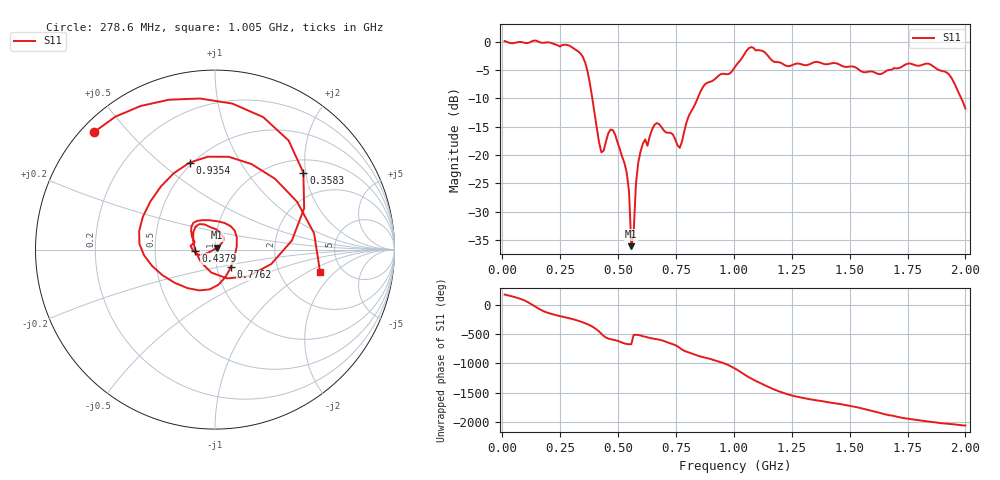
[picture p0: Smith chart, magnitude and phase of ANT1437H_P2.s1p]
!Created with skrf (http://scikit-rf.org).
# Hz S RI R 50.0
!freq ReS11 ImS11
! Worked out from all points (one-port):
!   201 points, 10 MHz to 2 GHz, reference 50 ohm
!   lowest |S11| = -36.1 dB at 557.2 MHz (marker M1), VSWR 1.03, Z = 51.1 + j1.12 ohm
!   |S11| at or under -10 dB: 388.8 MHz to 843.2 MHz (454.3 MHz wide, 73.8 % of centre); 1.983 GHz to end of sweep
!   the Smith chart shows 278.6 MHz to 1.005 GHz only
!   S11 on the Smith chart (normalised r, x): 278.6 MHz: 0.04, +0.41; 358.2 MHz: 1.30, +1.94; 437.9 MHz: 0.80, -0.01; 776.1 MHz: 1.17, -0.23; 935.4 MHz: 0.48, +0.63; 1.005 GHz: 3.42, -1.34
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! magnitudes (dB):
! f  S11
! 10 MHz  0.1
! 258.8 MHz  -0.6
! 278.6 MHz  -0.5
! 358.2 MHz  -3.7
! 417.9 MHz  -17.7
! 437.9 MHz  -19.2
! 467.7 MHz  -15.5
! 507.5 MHz  -18.9
! 547.3 MHz  -26.4
! 557.2 MHz  -36.1
! 567.2 MHz  -33.8
! 577.1 MHz  -25.1
! 587.1 MHz  -21.3
! 607 MHz  -18.0
! 626.9 MHz  -18.4
! 666.7 MHz  -14.4
! 756.2 MHz  -18.2
! 776.1 MHz  -17.6
! 865.7 MHz  -8.0
! 935.4 MHz  -5.9
! 1.005 GHz  -4.4
! 1.075 GHz  -0.9
! 1.254 GHz  -4.1
! 1.502 GHz  -4.4
! 1.632 GHz  -5.7
! 1.751 GHz  -3.9
! 1.92 GHz  -5.5
! 2 GHz  -11.8
